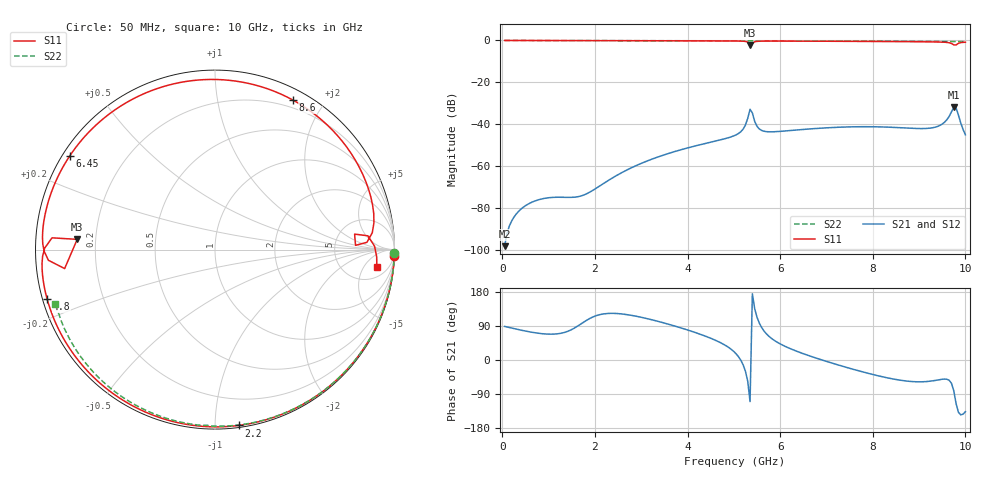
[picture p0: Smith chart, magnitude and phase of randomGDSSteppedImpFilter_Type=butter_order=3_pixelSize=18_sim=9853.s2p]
! freq	dB(S11)	phase(S11)	dB(S12)	phase(S12)
!  dB(S21)	phase(S21)	dB(S22)	phase(S22)
!S-par simulation data
#  GHz  S  DB  R 50
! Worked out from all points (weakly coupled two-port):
!   200 points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, 50 MHz to 10 GHz, reference 50 ohm
!   highest |S21| = -31.89 dB at 9.75 GHz (marker M1); lowest = -98.2 dB at 50 MHz (marker M2)
!   lowest |S11| = -2.3 dB at 5.35 GHz (marker M3), VSWR 7.69, Z = 6.51 + j1.82 ohm
!   |S11| at or under -10 dB: nowhere
!   |S22| runs from -0.5 to 0.0 dB; largest |S21 - S12| = 0
!   S11 on the Smith chart (normalised r, x): 50 MHz: 0, -57; 2.2 GHz: 0.01, -1.14; 4.8 GHz: 0.01, -0.14; 6.45 GHz: 0.02, +0.29; 8.6 GHz: 0.12, +1.64; 10 GHz: 10, -10
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0.05  -0.00 -2.0  -98.24 88.6  -98.24 88.6  -0.00 -0.9
0.8  -0.04 -31.3  -75.97 70.3  -75.97 70.3  -0.02 -14.8
1.75  -0.08 -66.6  -73.89 99.3  -73.89 99.3  -0.04 -32.2
2.2  -0.10 -82.3  -68.11 121.9  -68.11 121.9  -0.05 -40.2
3.4  -0.14 -121.2  -55.34 100.8  -55.34 100.8  -0.08 -60.9
4.8  -0.22 -163.6  -46.96 39.9  -46.96 39.9  -0.13 -83.9
5.05  -0.25 -171.8  -45.07 16.1  -45.07 16.1  -0.14 -87.8
5.25  -0.45 179.5  -40.42 -29.5  -40.42 -29.5  -0.15 -91.0
5.35  -2.27 175.8  -32.87 -109.8  -32.87 -109.8  -0.18 -92.5
5.4  -1.47 -172.8  -34.61 174.7  -34.61 174.7  -0.17 -93.1
5.5  -0.42 -179.5  -40.99 112.9  -40.99 112.9  -0.16 -94.7
5.6  -0.32 175.9  -42.96 85.8  -42.96 85.8  -0.16 -96.3
6.45  -0.33 147.3  -42.58 18.9  -42.58 18.9  -0.21 -109.2
6.7  -0.35 138.8  -42.15 8.2  -42.15 8.2  -0.22 -112.9
7.6  -0.43 105.8  -41.22 -25.3  -41.22 -25.3  -0.29 -126.1
8.35  -0.51 74.1  -41.41 -48.0  -41.41 -48.0  -0.35 -137.0
8.6  -0.54 62.5  -41.67 -53.4  -41.67 -53.4  -0.38 -140.6
9.4  -0.73 21.6  -41.05 -52.8  -41.05 -52.8  -0.47 -152.4
9.6  -0.94 9.5  -37.86 -50.8  -37.86 -50.8  -0.50 -155.3
9.75  -2.12 1.7  -31.89 -81.8  -31.89 -81.8  -0.53 -157.5
9.8  -2.13 6.3  -32.20 -115.5  -32.20 -115.5  -0.52 -158.1
10  -0.85 -6.0  -45.06 -136.5  -45.06 -136.5  -0.54 -161.3
